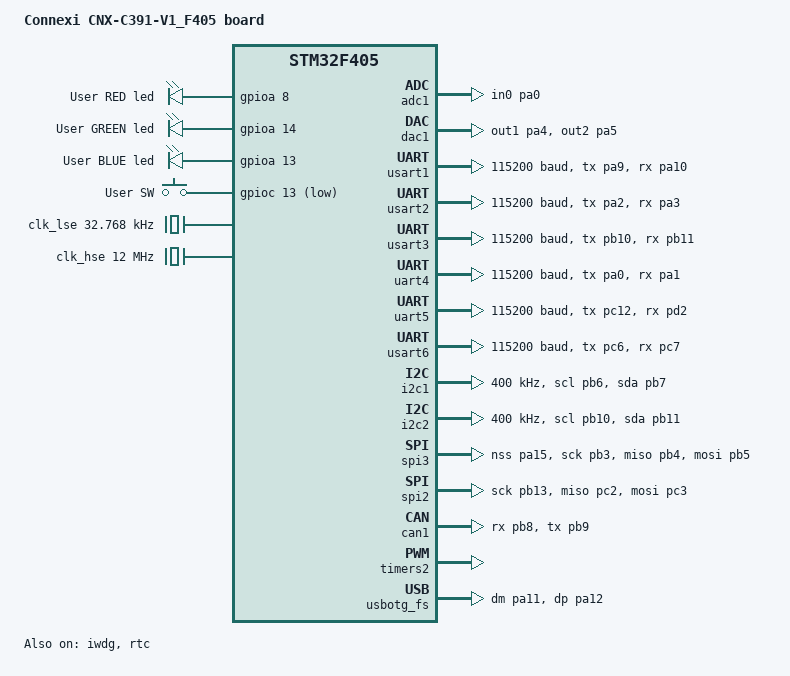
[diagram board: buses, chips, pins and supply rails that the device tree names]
/*
 * Copyright (c) 2025 In Chip Design (Aust) P/L.
 *
 * SPDX-License-Identifier: Apache-2.0
 */

/dts-v1/;
#include <st/f4/stm32f405Xg.dtsi>
#include <st/f4/stm32f405rgtx-pinctrl.dtsi>
#include "cnx_dip40.dtsi"
#include <zephyr/dt-bindings/input/input-event-codes.h>

/ {
	model = "Connexi CNX-C391-V1_F405 board";
	compatible = "connexi,CNX_C391_V1_F405", "st,stm32f405";

	chosen {
		zephyr,console = &cdc_acm_uart0;
		zephyr,shell-uart = &cdc_acm_uart0;
		zephyr,sram = &sram0;
		zephyr,flash = &flash0;
		zephyr,code-partition = &code_partition;
		zephyr,ccm = &ccm0;
		zephyr,canbus = &can1;
	};

	leds {
		compatible = "gpio-leds";
		red_led_1: led_1 {
			gpios = <&gpioa 8 GPIO_ACTIVE_HIGH>;
			label = "User RED led";
		};
		green_led_1: led_2 {
			gpios = <&gpioa 14 GPIO_ACTIVE_HIGH>;
			label = "User GREEN led"; /* Shared with SWD */
		};
		blue_led_1: led_3 {
			gpios = <&gpioa 13 GPIO_ACTIVE_HIGH>;
			label = "User BLUE led"; /* Shared with SWD */
		};
	};

	gpio_keys {
		compatible = "gpio-keys";
		button1: button1 {
			label = "User SW";
			gpios = <&gpioc 13 (GPIO_ACTIVE_LOW | GPIO_PULL_UP)>;
			zephyr,code = <INPUT_KEY_0>;
		};
	};

	aliases {
		led0 = &red_led_1;
		led1 = &green_led_1;
		led3 = &blue_led_1;
		mcuboot-led0 = &red_led_1;
		mcuboot-button0 = &button1;
		sw1 = &button1;
		watchdog0 = &iwdg;
		u-b4 = &uart4;
		u-b14 = &usart2;
		u-h3 = &usart1;
		u-h11 = &usart3;
		u-h17 = &usart6;
		u-h19 = &uart5;
		i-h5 = &i2c1;
		i-h11 = &i2c2;
		s-h8 = &spi3;
		s-h14 = &spi2;
		c-h3 = &can1;
		c-h5 = &can2;
		die-temp0 = &die_temp;
/*    	volt-sensor0 = &vref1;*/
		volt-sensor1 = &vbat;
	};
};

&clk_lse {
	clock-frequency = <32768>;
	status = "okay";
};

&clk_hse {
	clock-frequency = <DT_FREQ_M(12)>;
	status = "okay";
};

&pll {
	div-m = <12>;
	mul-n = <336>;
	div-p = <2>;
	div-q = <7>;
	clocks = <&clk_hse>;
	status = "okay";
};

&rcc {
	clocks = <&pll>;
	clock-frequency = <DT_FREQ_M(168)>;
	ahb-prescaler = <1>;
	apb1-prescaler = <4>;
	apb2-prescaler = <2>;
};

&iwdg {
	status = "okay";
};

&adc1 {
	pinctrl-0 = <&adc1_in0_pa0>;
	pinctrl-names = "default";
	st,adc-clock-source = "SYNC";
	st,adc-prescaler = <2>;
	status = "okay";
};

&dac1 {
	status = "okay";
	pinctrl-0 = <&dac_out1_pa4 &dac_out2_pa5>;
	pinctrl-names = "default";
};

&usart1 {
	pinctrl-0 = <&usart1_tx_pa9 &usart1_rx_pa10>;
	pinctrl-names = "default";
	current-speed = <115200>;
	status = "okay";
};

&usart2 {
	pinctrl-0 = <&usart2_tx_pa2 &usart2_rx_pa3>;
	pinctrl-names = "default";
	current-speed = <115200>;
	status = "okay";
};

&usart3 {
	pinctrl-0 = <&usart3_tx_pb10 &usart3_rx_pb11>;
	pinctrl-names = "default";
	current-speed = <115200>;
	status = "okay";
};

&uart4 {
	pinctrl-0 = <&uart4_tx_pa0 &uart4_rx_pa1>;
	pinctrl-names = "default";
	current-speed = <115200>;
	status = "okay";
};

&uart5 {
	pinctrl-0 = <&uart5_tx_pc12 &uart5_rx_pd2>;
	pinctrl-names = "default";
	current-speed = <115200>;
	status = "okay";
};

&usart6 {
	pinctrl-0 = <&usart6_tx_pc6 &usart6_rx_pc7>;
	pinctrl-names = "default";
	current-speed = <115200>;
	status = "okay";
};

&i2c1 {
	pinctrl-0 = <&i2c1_scl_pb6 &i2c1_sda_pb7>;
	pinctrl-names = "default";
	status = "okay";
	clock-frequency = <I2C_BITRATE_FAST>;
};

&i2c2 {
	pinctrl-0 = <&i2c2_scl_pb10 &i2c2_sda_pb11>;
	pinctrl-names = "default";
	status = "okay";
	clock-frequency = <I2C_BITRATE_FAST>;
};

&spi3_nss_pa15 { slew-rate = "very-high-speed"; };

&spi3 {
	pinctrl-0 = <&spi1_nss_pa15 &spi1_sck_pb3
		     &spi1_miso_pb4 &spi1_mosi_pb5>;
	pinctrl-names = "default";
	status = "okay";
};

&spi2 {
	pinctrl-0 = <&spi2_sck_pb13 &spi2_miso_pc2 &spi2_mosi_pc3>;
	pinctrl-names = "default";
	status = "okay";
};

&can1 {
	pinctrl-0 = <&can1_rx_pb8 &can1_tx_pb9>;
	pinctrl-names = "default";
	status = "okay";
};

&can2 {
	pinctrl-0 = <&can2_rx_pb12 &can2_tx_pb6>;
	pinctrl-names = "default";
	status = "disabled";
};

&timers2 {
	status = "okay";

	pwm2: pwm {
		status = "okay";
		pinctrl-0 = <&tim2_ch1_pa0 &tim2_ch2_pa1 &tim2_ch3_pa2 &tim2_ch4_pa3>;
		pinctrl-names = "default";
	};
};

&rtc {
	clocks = <&rcc STM32_CLOCK_BUS_APB1 0x10000000>,
		 <&rcc STM32_SRC_LSE RTC_SEL(1)>;
	status = "okay";
};

zephyr_udc0: &usbotg_fs {
	pinctrl-0 = <&usb_otg_fs_dm_pa11 &usb_otg_fs_dp_pa12>;
	pinctrl-names = "default";
	status = "okay";

	cdc_acm_uart0: cdc_acm_uart0 {
		compatible = "zephyr,cdc-acm-uart";
	};
};


&flash0 {
	partitions {
		compatible = "fixed-partitions";
		#address-cells = <1>;
		#size-cells = <1>;

		code_partition: partition@0 {
			label = "Application";
			reg = <0x00000000 DT_SIZE_K(512)>;
		};

		storage_partition: partition@80000 {
			label = "storage";
			reg = <0x000080000 DT_SIZE_K(512)>;
		};

	};
};

/*{
	flash_disk {
		compatible = "zephyr,flash-disk";
		partition = <&storage_partition>;
		disk-name = "SOC-NV-FLASH";
		cache-size = <(64 * 1024)>;
	};
};*/
